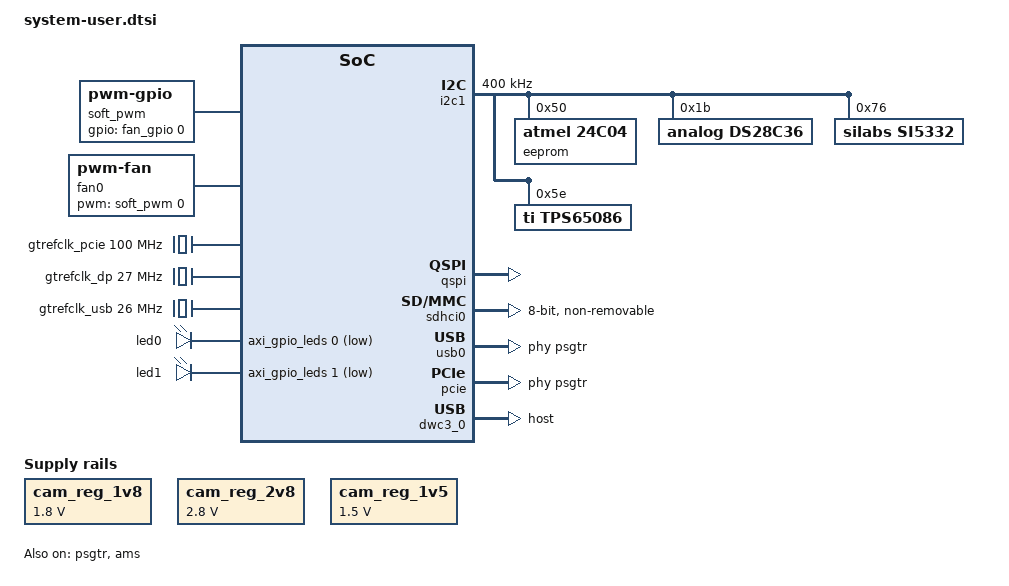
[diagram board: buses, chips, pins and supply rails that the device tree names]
/include/ "system-conf.dtsi"
#include <dt-bindings/thermal/thermal.h>
#include <dt-bindings/phy/phy.h>

/ {
	
	aliases {
		mmc0 = &sdhci1; // Point mmc0 to the SD slot
		mmc1 = &sdhci0; // Point mmc1 to the eMMC slot
	};

	reserved-memory {
		#address-cells = <2>;
		#size-cells = <2>;
		ranges;

		/* 128 MB reserved for tests on DMA */
		dma_src_reserved0: buffer@0000000050000000 {
			compatible = "shared-dma-pool";
			no-map;
			reg = <0x0 0x50000000 0x0 0x08000000>;
		};

		/* 128 MB reserved for tests on DMA */
		dma_src_reserved1: buffer@0000000060000000 {
			compatible = "shared-dma-pool";
			no-map;
			reg = <0x0 0x60000000 0x0 0x08000000>;
		};
	};

	/* Virtual PWM controller using your GPIO */
	soft_pwm: pwm-gpio {
		compatible = "pwm-gpio";
		#pwm-cells = <3>;
		/* GPIO number and polarity */
		gpios = <&fan_gpio 0 GPIO_ACTIVE_HIGH>;
	};

	/* Define the fan using the virtual PWM */
	fan0: pwm-fan {
		compatible = "pwm-fan";
		pwms = <&soft_pwm 0 10000 0>;
		cooling-levels = <8 16 64 192 255>;
		#cooling-cells = <2>;
	};

	misc_clk_a: misc_clk_a {
		#clock-cells = <0>;
		clock-frequency = <12000000>;
		compatible = "fixed-clock";
	};
	cam_reg_1v8: regulator-1v8 {
		compatible = "regulator-fixed";
		regulator-name = "1v8";
		regulator-min-microvolt = <1800000>;
		regulator-max-microvolt = <1800000>;
	};
	cam_reg_2v8: regulator-2v8 {
		compatible = "regulator-fixed";
		regulator-name = "2v8";
		regulator-min-microvolt = <2800000>;
		regulator-max-microvolt = <2800000>;
	};
	cam_reg_1v5: regulator-1v5 {
		compatible = "regulator-fixed";
		regulator-name = "1v5";
		regulator-min-microvolt = <1500000>;
		regulator-max-microvolt = <1500000>;
	};

	gtrefclk_pcie: clock {
		compatible = "fixed-clock";
		#clock-cells = <0>;
		clock-frequency = <100000000>;
	};

	gtrefclk_dp: clock {
		compatible = "fixed-clock";
		#clock-cells = <0>;
		clock-frequency = <27000000>;
	};

	gtrefclk_usb: clock {
		compatible = "fixed-clock";
		#clock-cells = <0>;
		clock-frequency = <26000000>;
	};

	leds {
		
		compatible = "gpio-leds";

		led0 {
			gpios = <&axi_gpio_leds 0 GPIO_ACTIVE_LOW>;
			linux,default-trigger = "disk-activity";
			function = "disk-activity";
		};

		led1 {
			gpios = <&axi_gpio_leds 1 GPIO_ACTIVE_LOW>;
			linux,default-trigger = "heartbeat";
			function = "heartbeat";
		};

	};

};

&spw_0_axi_dma_0 {
	compatible = "sitf,spw_dma-1.0";
	memory-region = <&dma_src_reserved0>;
	control-regs = <&spw_0_spw_status_regs>;
	device-name = "spw0";
};

&spw_1_axi_dma_0 {
	compatible = "sitf,spw_dma-1.0";
	memory-region = <&dma_src_reserved1>;
	control-regs = <&spw_1_spw_status_regs>;
	device-name = "spw1";
};

&pps_system_axi_gpio_0 {
	gpio-line-names = "ppsa", "ppsb", "ppsa_in", "ppsb_in", "ppsa_en", "ppsb_en";
	xlnx,dout-default-2 = <0x00000003>;
};

&axi_gpio_btn {
	gpio-line-names = "btn1", "btn2", "btn3", "btn4";
};

&axi_gpio_jtag {
	gpio-line-names = "tck", "tdi", "tms", "tdo";
};

&axi_gpio_swd {
	gpio-line-names = "swdio", "trst", "swdclk";
};

&axi_gpio_security {
	gpio-line-names = "seca", "secb";
};

&axi_gpio_leds {
	gpio-line-names = "led1", "led2", "led3", "led4";
};

&fan_gpio {
	xlnx,dout-default = <0x00000001>;
};

&i2c1 {
	clock-frequency = <400000>;

	eeprom@50{
		compatible = "atmel,24c04";
		reg = <0x50>;
		pagesize = <16>;
	};

	ds28c36@1B{
		compatible = "analog,ds28c36";
		reg = <0x1B>;
	};

	si5332: clock-generator@76{
		compatible = "silabs,si5332";
		reg = <0x76>;
	};

	tps65086: pmic@5E {
		compatible = "ti,tps65086";
		reg = <0x5E>;
		ti,system-power-controller;
	};
};

&qspi {
	status = "okay";
};

&flash0 {
	is-dual = <0>;
	num-cs = <1>;
	spi-rx-bus-width = <4>;
	spi-tx-bus-width = <4>;
	compatible ="jedec,spi-nor";
	reg= <0x0>;
};

/* eMMC */
&sdhci0 { /* emmc MIO 13-23 - with some settings MTFC8GAKAJCN 8GB */
	non-removable;
	disable-wp;
	no-sd;
	no-sdio;
	cap-mmc-hw-reset;
	bus-width = <8>;
	/* eMMC 4.5 features */
	/* mmc-hs200-1_8v;  Required for high speed */
};
/* SD */
&sdhci1 {
	disable-wp;
	/* This is okay since the SD is behind a converter */
	no-1-8-v;
};

&psgtr {
	status = "okay";
	clocks = <&gtrefclk_pcie &gtrefclk_usb &gtrefclk_dp &gtrefclk_dp>;
	/* ref clk instances used per lane */
	clock-names = "ref0", "ref1", "ref2", "ref3";
};

/* ULPI SMSC USB3320 */
&usb0  {
	status = "okay";
	/* Link to GT Lane 1 for USB 3.0 Support */
	/* Syntax: <&psgtr LANE_NUM PHY_TYPE CONTROLLER_INSTANCE LANE_OFFSET> */
	phys = <&psgtr 1 PHY_TYPE_USB3 0 1>;
	phy-names = "usb3-phy";
};

&pcie {
	status = "okay";
	/* Point to the GTR PHY lane 0 */
	phys = <&psgtr 0 PHY_TYPE_PCIE 0 0>;
	phy-names = "pcie-phy0";
};

/* USB  */
&dwc3_0 {
	status = "okay";
	dr_mode = "host";
};

/* Ensure the AMS and fan are actually enabled */
&ams {
	status = "okay";
};

/ {
	thermal-zones {
		/delete-node/ pl-thermal; /* Remove your previous attempt if it exists */

		pl-thermal {
			polling-delay = <1500>;
			thermal-sensors = <&tsens_pl>;

			trips {
				fan_low: fan-low {
					temperature = <30000>; /* 30°C */
					hysteresis = <2000>;
					type = "active";
				};
				fan_mid: fan-mid {
					temperature = <45000>; /* 45°C */
					hysteresis = <2000>;
					type = "active";
				};
				fan_high: fan-high {
					temperature = <60000>; /* 60°C */
					hysteresis = <2000>;
					type = "active";
				};
			};

			cooling-maps {
				/* At 30C, set fan to level 1 (64/255 ~25% speed) */
				map1 {
					trip = <&fan_low>;
					cooling-device = <&fan0 1 1>;
				};
				/* At 45C, set fan to level 2 (128/255 ~50% speed) */
				map2 {
					trip = <&fan_mid>;
					cooling-device = <&fan0 2 2>;
				};
				/* At 60C, set fan to level 4 (255/255 = 100% speed) */
				map3 {
					trip = <&fan_high>;
					cooling-device = <&fan0 4 4>;
				};
			};
		};
	};
};
